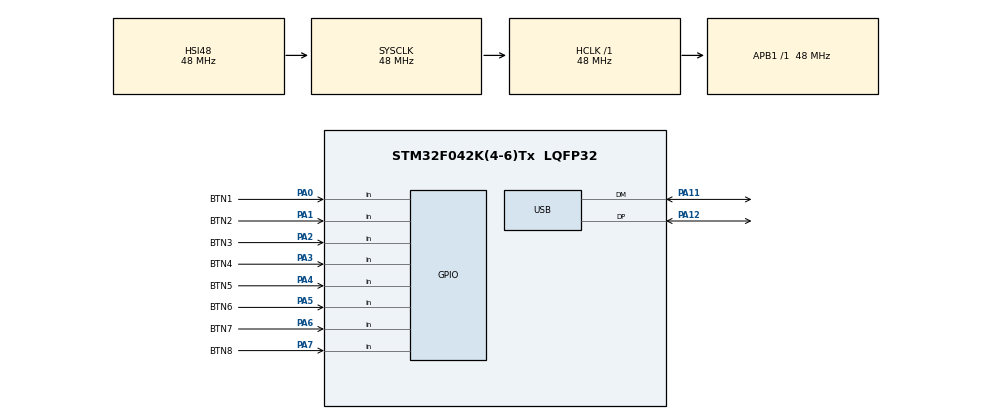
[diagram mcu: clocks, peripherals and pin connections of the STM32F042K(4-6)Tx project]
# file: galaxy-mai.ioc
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Mcu.Family=STM32F0
Mcu.Name=STM32F042K(4-6)Tx
Mcu.Package=LQFP32
NVIC.USB_IRQn=true\:0\:0\:false\:false\:true\:false\:true\:true
PA0.GPIO_Label=BTN1
PA0.GPIO_PuPd=GPIO_PULLDOWN
PA0.Signal=GPIO_Input
PA1.GPIO_Label=BTN2
PA1.GPIO_PuPd=GPIO_PULLDOWN
PA1.Signal=GPIO_Input
PA11.Mode=Device
PA11.Signal=USB_DM
PA12.Mode=Device
PA12.Signal=USB_DP
PA13.Mode=Serial_Wire
PA13.Signal=SYS_SWDIO
PA14.Mode=Serial_Wire
PA14.Signal=SYS_SWCLK
PA2.GPIO_Label=BTN3
PA2.GPIO_PuPd=GPIO_PULLDOWN
PA2.Signal=GPIO_Input
PA3.GPIO_Label=BTN4
PA3.GPIO_PuPd=GPIO_PULLDOWN
PA3.Signal=GPIO_Input
PA4.GPIO_Label=BTN5
PA4.GPIO_PuPd=GPIO_PULLDOWN
PA4.Signal=GPIO_Input
PA5.GPIO_Label=BTN6
PA5.GPIO_PuPd=GPIO_PULLDOWN
PA5.Signal=GPIO_Input
PA6.GPIO_Label=BTN7
PA6.GPIO_PuPd=GPIO_PULLDOWN
PA6.Signal=GPIO_Input
PA7.GPIO_Label=BTN8
PA7.GPIO_PuPd=GPIO_PULLDOWN
PA7.Signal=GPIO_Input
ProjectManager.HeapSize=0x200
ProjectManager.StackSize=0x400
ProjectManager.TargetToolchain=CMake
RCC.AHBFreq_Value=48000000
RCC.APB1Freq_Value=48000000
RCC.APB1TimFreq_Value=48000000
RCC.HCLKFreq_Value=48000000
RCC.SYSCLKFreq_VALUE=48000000
RCC.SYSCLKSource=RCC_SYSCLKSOURCE_HSI48
USB_DEVICE.CLASS_NAME_FS=HID
USB_DEVICE.VirtualMode=Hid
USB_DEVICE.VirtualModeFS=Hid_FS
VP_USB_DEVICE_VS_USB_DEVICE_HID_FS.Mode=HID_FS
board=custom

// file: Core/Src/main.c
/* USER CODE BEGIN Header */
/**
  ******************************************************************************
  * @file           : main.c
  * @brief          : Main program body
  ******************************************************************************
  * @attention
  *
  * Copyright (c) 2026 STMicroelectronics.
  * All rights reserved.
  *
  * This software is licensed under terms that can be found in the LICENSE file
  * in the root directory of this software component.
  * If no LICENSE file comes with this software, it is provided AS-IS.
  *
  ******************************************************************************
  */
/* USER CODE END Header */
#include "main.h"
#include "usb_device.h"
#include "gpio.h"

/* USER CODE BEGIN Includes */
#include "usbd_hid.h"
/* USER CODE END Includes */

/* USER CODE BEGIN PTD */
typedef struct {
  GPIO_TypeDef* port;
  uint16_t pin;
} GPIO_PinPortDef;

typedef struct {
    uint8_t MODIFIER;       // Modifier keys (Ctrl, Shift, Alt, Win)
    uint8_t RESERVED;       // Always 0
    uint8_t KEYPRESS[12];   // Up to 12 keycodes
} __attribute__((packed)) USBHID_ReportDef;

/* USER CODE END PTD */

/* USER CODE BEGIN PV */
uint8_t KEYCODE[8] = {0x1A, 0x08, 0x07, 0x06, 0x1B, 0x1D, 0x04, 0x14};
USBHID_ReportDef REPORT = {0, 0, {0}};
extern USBD_HandleTypeDef hUsbDeviceFS;
/* USER CODE END PV */

void SystemClock_Config(void);
/* USER CODE BEGIN PFP */
void addUSBReport(uint8_t usageID);
/* USER CODE END PFP */

int main(void)
{

  /* MCU Configuration--------------------------------------------------------*/

  /* Reset of all peripherals, Initializes the Flash interface and the Systick. */
  HAL_Init();

  /* Configure the system clock */
  SystemClock_Config();

  /* Initialize all configured peripherals */
  MX_GPIO_Init();
  MX_USB_DEVICE_Init();

  /* Infinite loop */
  while (1)
  {

    /* USER CODE BEGIN 3 */
'''
    addUSBReport(0x1A);''

    // Only send i'f''''''''''''''''''''''' USB is ready
    USBD_HID_SendReport(&hUsbDeviceFS, (uint8_t*)&REPORT, sizeof(REPORT));

    HAL_Delay(10);
  }
6  /* USER CODE END 3 */
}

void SystemClock_Config(void)
{
  RCC_OscInitTypeDef RCC_OscInitStruct = {0};
  RCC_ClkInitTypeDef RCC_ClkInitStruct = {0};
  RCC_PeriphCLKInitTypeDef PeriphClkInit = {0};

  /** Initializes the RCC Oscillators according to the specified parameters
  * in the RCC_OscInitTypeDef structure.
  */
  RCC_OscInitStruct.OscillatorType = RCC_OSCILLATORTYPE_HSI48;
  RCC_OscInitStruct.HSI48State = RCC_HSI48_ON;
  RCC_OscInitStruct.PLL.PLLState = RCC_PLL_NONE;
  if (HAL_RCC_OscConfig(&RCC_OscInitStruct) != HAL_OK)
  {
    Error_Handler();
  }

  /** Initializes the CPU, AHB and APB buses clocks
  */
  RCC_ClkInitStruct.ClockType = RCC_CLOCKTYPE_HCLK|RCC_CLOCKTYPE_SYSCLK
                              |RCC_CLOCKTYPE_PCLK1;
  RCC_ClkInitStruct.SYSCLKSource = RCC_SYSCLKSOURCE_HSI48;
  RCC_ClkInitStruct.AHBCLKDivider = RCC_SYSCLK_DIV1;
  RCC_ClkInitStruct.APB1CLKDivider = RCC_HCLK_DIV1;

  if (HAL_RCC_ClockConfig(&RCC_ClkInitStruct, FLASH_LATENCY_1) != HAL_OK)
  {
    Error_Handler();
  }
  PeriphClkInit.PeriphClockSelection = RCC_PERIPHCLK_USB;
  PeriphClkInit.UsbClockSelection = RCC_USBCLKSOURCE_HSI48;

  if (HAL_RCCEx_PeriphCLKConfig(&PeriphClkInit) != HAL_OK)
  {
    Error_Handler();
  }
}

/* USER CODE BEGIN 4 */
void addUSBReport(uint8_t usageID){
    // Modifier keys (0xE0–0xE7)
    if (usageID >= 0xE0 && usageID <= 0xE7) {
        REPORT.KEYPRESS[0] |= (1 << (usageID - 0xE0));
        return;
    }

    // Normal keys (0x04–0x63)
    if (usageID < 0x04 || usageID > 0x63) return;
    uint16_t bit_index = usageID - 0x04;
    uint8_t byte_index = 2 + (bit_index / 8); // start at REPORT.KEYPRESS[2]
    uint8_t bit_offset = bit_index % 8;
    REPORT.KEYPRESS[byte_index] |= (1 << bit_offset);
}

/* USER CODE END 4 */

void Error_Handler(void)
{
  __disable_irq();
  while (1)
  {
  }
}
